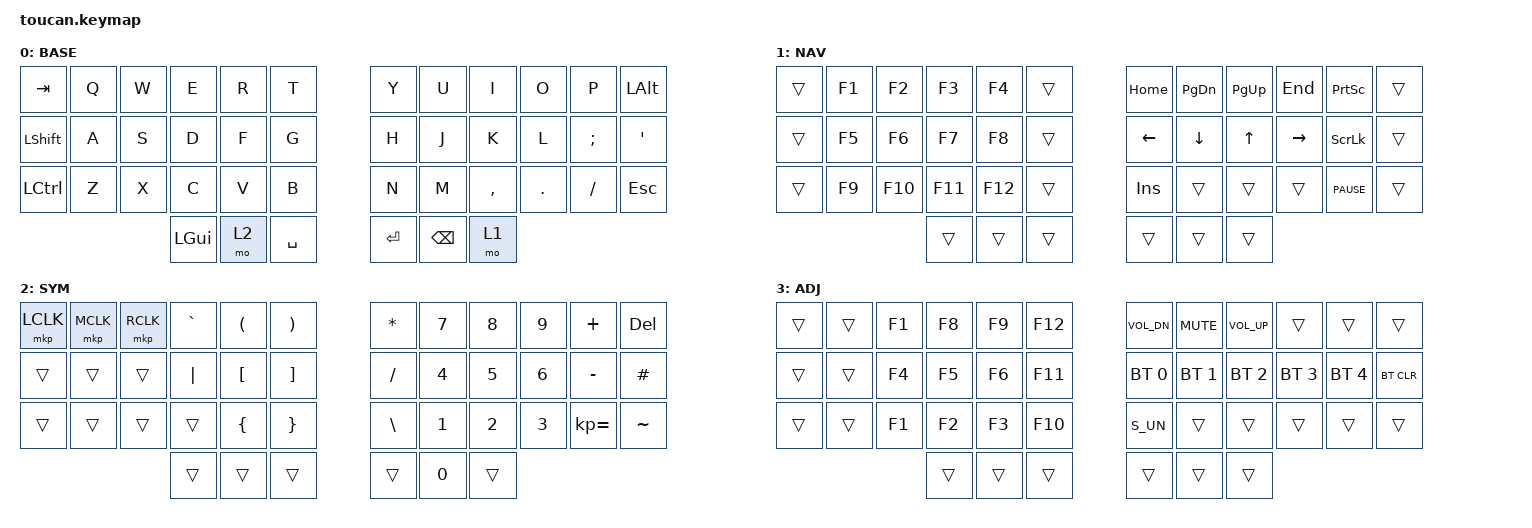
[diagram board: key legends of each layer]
#include <behaviors.dtsi>
#include <dt-bindings/zmk/bt.h>
#include <dt-bindings/zmk/keys.h>
#include <dt-bindings/zmk/pointing.h>

#define BASE 0
#define NAV  1
#define SYM  2
#define ADJ  3
#define S_UN studio_unlock

/ {
    conditional_layers {
        compatible = "zmk,conditional-layers";

        tri_layer {
            if-layers = <1 2>;
            then-layer = <3>;
        };
    };

    keymap {
        compatible = "zmk,keymap";

        base {
            display-name = "BASE";
            bindings = <
&kp TAB         &kp Q           &kp W           &kp E           &kp R           &kp T                 &kp Y           &kp U           &kp I           &kp O           &kp P           &kp LEFT_ALT
&kp LEFT_SHIFT  &kp A           &kp S           &kp D           &kp F           &kp G                 &kp H           &kp J           &kp K           &kp L           &kp SEMI        &kp SQT
&kp LCTRL       &kp Z           &kp X           &kp C           &kp V           &kp B                 &kp N           &kp M           &kp COMMA       &kp DOT         &kp FSLH        &kp ESC
                                                &kp LGUI        &mo 2           &kp SPACE             &kp RET         &kp BACKSPACE   &mo 1
            >;
        };

        nav {
            display-name = "NAV";
            bindings = <
&trans          &kp F1          &kp F2          &kp F3          &kp F4          &trans                &kp HOME        &kp PG_DN       &kp PG_UP       &kp END         &kp PSCRN       &trans
&trans          &kp F5          &kp F6          &kp F7          &kp F8          &trans                &kp LEFT        &kp DOWN        &kp UP          &kp RIGHT       &kp SLCK        &trans
&trans          &kp F9          &kp F10         &kp F11         &kp F12         &trans                &kp INS         &trans          &trans          &trans          &kp C_PAUSE     &trans
                                                &trans          &trans          &trans                &trans          &trans          &trans
            >;
        };

        sym {
            display-name = "SYM";
            bindings = <
&mkp LCLK       &mkp MCLK       &mkp RCLK       &kp GRAVE       &kp LPAR        &kp RPAR              &kp STAR        &kp N7          &kp N8          &kp N9          &kp PLUS        &kp DELETE
&trans          &trans          &trans          &kp PIPE        &kp LBKT        &kp RBKT              &kp SLASH       &kp N4          &kp N5          &kp N6          &kp MINUS       &kp HASH
&trans          &trans          &trans          &trans          &kp LBRC        &kp RBRC              &kp BSLH        &kp N1          &kp N2          &kp N3          &kp KP_EQUAL    &kp TILDE
                                                &trans          &trans          &trans                &trans          &kp N0          &trans
            >;
        };

        adj {
            display-name = "ADJ";
            bindings = <
&trans          &trans          &kp F1          &kp F8          &kp F9          &kp F12               &kp C_VOL_DN    &kp C_MUTE      &kp C_VOL_UP    &trans          &trans          &trans
&trans          &trans          &kp F4          &kp F5          &kp F6          &kp F11               &bt BT_SEL 0    &bt BT_SEL 1    &bt BT_SEL 2    &bt BT_SEL 3    &bt BT_SEL 4    &bt BT_CLR
&trans          &trans          &kp F1          &kp F2          &kp F3          &kp F10               &S_UN           &trans          &trans          &trans          &trans          &trans
                                                &trans          &trans          &trans                &trans          &trans          &trans
            >;
        };

        extra_1 { status = "reserved"; };

        extra_2 { status = "reserved"; };

        extra_3 { status = "reserved"; };
    };
};
